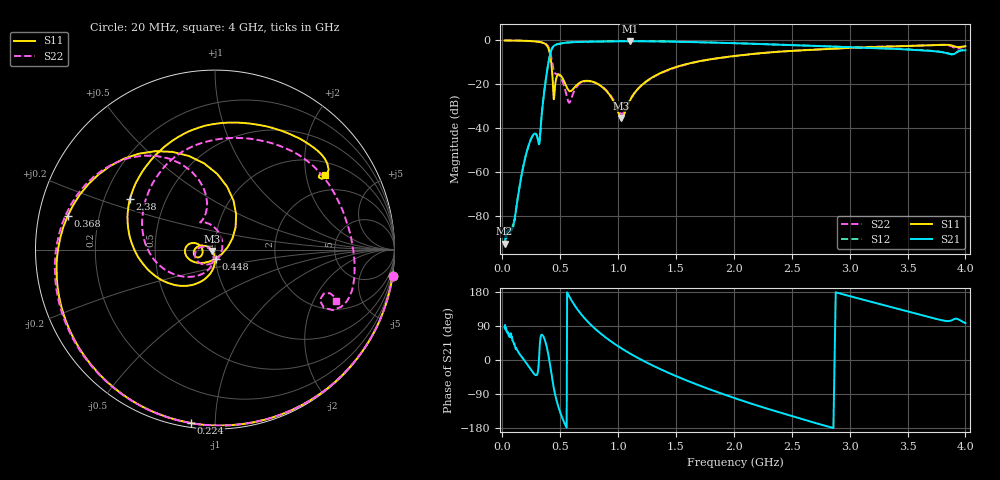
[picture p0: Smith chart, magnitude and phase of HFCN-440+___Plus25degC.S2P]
! Mini-Circuits
! S2P DATA File Format
! Unit Family Type: Filters
! MCL Part No: HFCN-440+
! Note: All S Parameters are in dB deg format
! The Unit was tested at +25 °C
# MHz S DB R 50
!  FREQ  dB(S11)  PHS(S11)  dB(S21)  PHS(S21)  dB(S12)  PHS(S12)  dB(S22)  PHS(S22)
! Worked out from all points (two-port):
!   401 points, 20 MHz to 4 GHz, reference 50 ohm
!   highest |S21| = -0.34 dB at 1.1 GHz (marker M1); lowest = -92.8 dB at 20 MHz (marker M2)
!   |S21| within 3 dB of the highest: 432.5 MHz to 3.118 GHz (2.685 GHz wide, 151 % of centre)
!   lowest |S11| = -35.4 dB at 1.027 GHz (marker M3), VSWR 1.03, Z = 48.5 - j0.758 ohm
!   |S11| at or under -10 dB: 422.4 MHz to 1.653 GHz (1.231 GHz wide, 119 % of centre)
!   |S22| runs from -33.5 to 0.0 dB; largest |S21 - S12| = 0.013
!   S11 on the Smith chart (normalised r, x): 20 MHz: -0, -14; 224 MHz: 0.02, -0.87; 368 MHz: 0.09, +0.11; 448 MHz: 1.00, -0.10; 2.38 GHz: 0.31, +0.25; 4 GHz: 1.39, +2.57
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20  0.00 -8.4  -92.75 86.1  -93.85 82.7  -0.00 -8.5
108  -0.04 -45.7  -80.91 37.1  -81.93 37.0  -0.04 -46.1
224  -0.21 -98.0  -48.47 -15.4  -48.47 -15.4  -0.22 -98.9
320  -0.68 -151.8  -46.96 19.7  -46.95 19.7  -0.63 -152.0
368  -1.49 167.2  -20.92 52.3  -20.90 52.3  -1.28 170.5
404  -4.52 113.6  -8.53 3.3  -8.52 3.3  -3.60 127.7
424  -10.71 69.2  -4.33 -36.0  -4.33 -36.0  -7.83 103.4
448  -25.98 -84.8  -2.38 -79.0  -2.37 -79.0  -14.29 107.7
480  -15.68 -167.9  -1.67 -119.0  -1.66 -119.0  -15.40 115.9
540  -19.33 161.6  -1.08 -168.6  -1.08 -168.6  -21.89 66.7
580  -23.08 -179.1  -0.87 166.8  -0.87 166.8  -28.39 -22.5
684  -18.86 -159.1  -0.66 119.8  -0.65 119.8  -19.21 -133.5
876  -21.80 163.6  -0.45 63.4  -0.45 63.4  -21.66 170.8
1027  -35.40 -152.6  -0.36 31.1  -0.36 31.1  -33.48 -155.1
1100  -27.63 -92.1  -0.34 17.7  -0.34 17.7  -27.42 -100.8
1360  -15.03 -109.9  -0.43 -23.4  -0.43 -23.4  -15.18 -123.6
1680  -9.71 -146.3  -0.78 -64.6  -0.78 -64.5  -9.79 -165.0
2020  -6.98 -179.5  -1.27 -101.9  -1.27 -101.7  -7.07 155.8
2380  -5.16 149.0  -1.92 -137.1  -1.88 -136.8  -5.18 117.8
2680  -4.24 125.3  -2.43 -164.1  -2.39 -163.8  -4.22 88.5
3340  -2.81 77.0  -3.75 141.2  -3.65 141.0  -2.70 28.5
4000  -2.61 34.3  -4.50 97.4  -4.36 96.6  -2.69 -22.9
